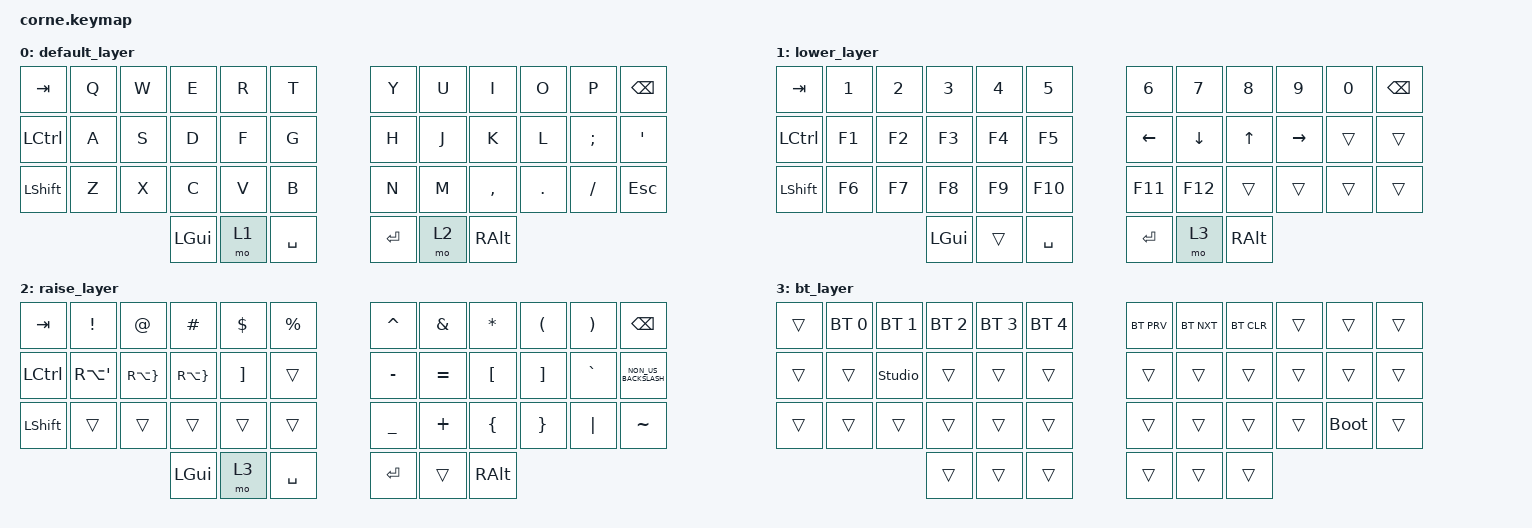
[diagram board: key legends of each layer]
/*
 * Copyright (c) 2020 The ZMK Contributors
 *
 * SPDX-License-Identifier: MIT
 */

#include <behaviors.dtsi>
#include <dt-bindings/zmk/bt.h>
#include <dt-bindings/zmk/keys.h>

/ {
    macros {
        CODE1: CODE1 {
            compatible = "zmk,behavior-macro";
            #binding-cells = <0>;
            bindings = <&kp RA(SQT)>;
            label = "CODE1";
        };
    };

    keymap {
        compatible = "zmk,keymap";

        default_layer {
            // -----------------------------------------------------------------------------------------
            // |  TAB |  Q  |  W  |  E  |  R  |  T  |   |  Y  |  U   |  I  |  O  |  P  | BSPC |
            // | CTRL |  A  |  S  |  D  |  F  |  G  |   |  H  |  J   |  K  |  L  |  ;  |  '   |
            // | SHFT |  Z  |  X  |  C  |  V  |  B  |   |  N  |  M   |  ,  |  .  |  /  | ESC  |
            //                    | GUI | LWR | SPC |   | ENT | RSE  | ALT |

            bindings = <
&kp TAB    &kp Q  &kp W  &kp E     &kp R  &kp T        &kp Y    &kp U  &kp I      &kp O    &kp P     &kp BSPC
&kp LCTRL  &kp A  &kp S  &kp D     &kp F  &kp G        &kp H    &kp J  &kp K      &kp L    &kp SEMI  &kp SQT
&kp LSHFT  &kp Z  &kp X  &kp C     &kp V  &kp B        &kp N    &kp M  &kp COMMA  &kp DOT  &kp FSLH  &kp ESC
                         &kp LGUI  &mo 1  &kp SPACE    &kp RET  &mo 2  &kp RALT
            >;
        };

        lower_layer {
            // -----------------------------------------------------------------------------------------
            // |  TAB |  1  |  2  |  3  |  4  |  5  |   |  6  |  7  |  8  |  9  |  0  | BSPC |
            // | CTRL | F1  | F2  | F3  | F4  | F5  |   | LFT | DWN |  UP | RGT |     |      |
            // | SHFT | F6  | F7  | F8  | F9  | F10 |   | F11 | F12 |     |     |     |      |
            //                    | GUI |     | SPC |   | ENT | BT* | ALT | // * BT layer when held

            bindings = <
&kp TAB    &kp N1  &kp N2  &kp N3    &kp N4  &kp N5       &kp N6    &kp N7    &kp N8    &kp N9     &kp N0  &kp BSPC
&kp LCTRL  &kp F1  &kp F2  &kp F3    &kp F4  &kp F5       &kp LEFT  &kp DOWN  &kp UP    &kp RIGHT  &trans  &trans
&kp LSHFT  &kp F6  &kp F7  &kp F8    &kp F9  &kp F10      &kp F11   &kp F12   &trans    &trans     &trans  &trans
                           &kp LGUI  &trans  &kp SPACE    &kp RET   &mo 3     &kp RALT
            >;
        };

        raise_layer {
            // -----------------------------------------------------------------------------------------
            // |  TAB |  !  |  @  |  #  |  $  |  %  |   |  ^  |  &  |  *  |  (  |  )  | BSPC |
            // | CTRL |     |     |     |     |     |   |  -  |  =  |  [  |  ]  |  \  |  `   |
            // | SHFT |     |     |     |     |     |   |  _  |  +  |  {  |  }  | "|" |  ~   |
            //                    | GUI | BT* | SPC |   | ENT |     | ALT | // * BT layer when held

            bindings = <
&kp TAB    &kp EXCL     &kp AT        &kp HASH             &kp DLLR           &kp PRCNT    &kp CARET  &kp AMPS   &kp ASTRK  &kp LPAR  &kp RPAR   &kp BSPC
&kp LCTRL  &kp RA(SQT)  &kp RA(RBRC)  &kp RA(RIGHT_BRACE)  &kp RIGHT_BRACKET  &trans       &kp MINUS  &kp EQUAL  &kp LBKT   &kp RBKT  &kp GRAVE  &kp NON_US_BACKSLASH
&kp LSHFT  &trans       &trans        &trans               &trans             &trans       &kp UNDER  &kp PLUS   &kp LBRC   &kp RBRC  &kp PIPE   &kp TILDE
                                      &kp LGUI             &mo 3              &kp SPACE    &kp RET    &trans     &kp RALT
            >;
        };

        /* NEW BT LAYER */

        bt_layer {
            // -----------------------------------------------------------------------------------------
            // |      | BT 1| BT 2| BT 3| BT 4| BT 5|   | Prv | Next| Clr |     |     |      |
            // |      |     | UNLK|     |     |     |   |     |     |     |     |     |      | // UNLK = desbloquea ZMK Studio (KeyPeek)
            // |      |     |     |     |     |     |   |     |     |     |     |RST  |      |
            //                    |     |     |     |   |     |     |     |

            bindings = <
&trans  &bt BT_SEL 0  &bt BT_SEL 1   &bt BT_SEL 2  &bt BT_SEL 3  &bt BT_SEL 4    &bt BT_PRV  &bt BT_NXT  &bt BT_CLR  &trans  &trans       &trans
&trans  &trans        &studio_unlock  &trans       &trans        &trans          &trans      &trans      &trans      &trans  &trans       &trans
&trans  &trans        &trans        &trans        &trans        &trans          &trans      &trans      &trans      &trans  &bootloader  &trans
                                    &trans        &trans        &trans          &trans      &trans      &trans
            >;
        };
    };
};
